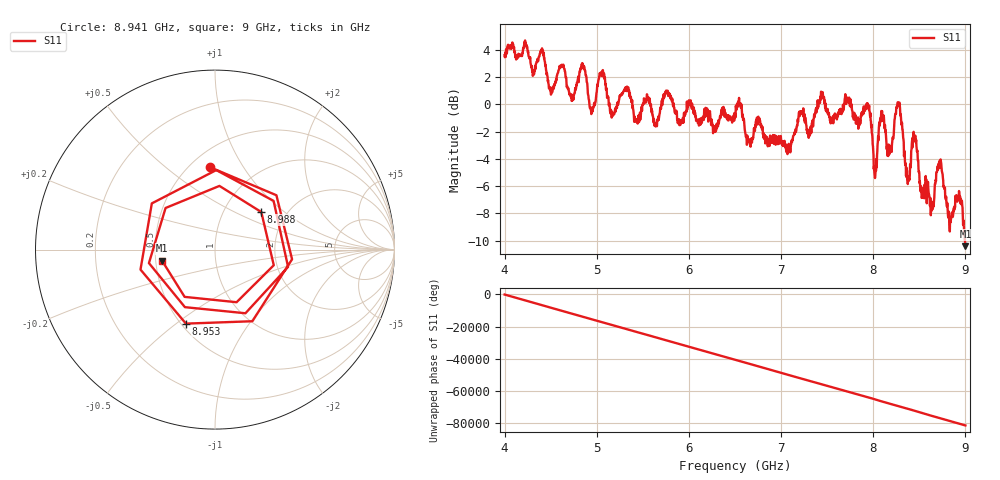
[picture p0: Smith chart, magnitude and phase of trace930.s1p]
! Created with skrf 1.8.0 (http://scikit-rf.org).
# Hz S RI R 50.0
!freq ReS11 ImS11
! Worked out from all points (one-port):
!   1601 points, 4 GHz to 9 GHz, reference 50 ohm
!   lowest |S11| = -10.4 dB at 9 GHz (marker M1), VSWR 1.86, Z = 27 - j3.62 ohm
!   |S11| at or under -10 dB: 8.994536 GHz to end of sweep
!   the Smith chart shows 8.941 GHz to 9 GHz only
!   S11 on the Smith chart (normalised r, x): 8.941 GHz: 0.62, +0.72; 8.953 GHz: 0.53, -0.54; 8.988 GHz: 1.50, +0.70; 9 GHz: 0.54, -0.07
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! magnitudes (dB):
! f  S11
! 4 GHz  3.6
! 4.406 GHz  4.1
! 4.506 GHz  0.8
! 4.625 GHz  2.8
! 4.728 GHz  0.2
! 4.853 GHz  2.8
! 4.944 GHz  -0.6
! 5.053 GHz  2.3
! 5.166 GHz  -0.7
! 5.25 GHz  0.6
! 5.875 GHz  -1.1
! 6.5 GHz  -0.7
! 7.125 GHz  -2.6
! 7.75 GHz  0.0
! 7.944 GHz  -0.2
! 8.019 GHz  -5.4
! 8.088 GHz  -0.5
! 8.178 GHz  -3.2
! 8.275 GHz  -0.1
! 8.375 GHz  -5.9
! 8.444 GHz  -2.4
! 8.634 GHz  -7.8
! 8.716 GHz  -4.2
! 8.834 GHz  -8.3
! 8.941 GHz  -6.7
! 8.953 GHz  -7.1
! 8.988 GHz  -9.6
! 9 GHz  -10.4
